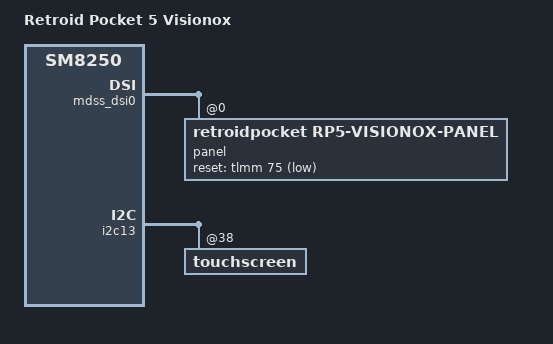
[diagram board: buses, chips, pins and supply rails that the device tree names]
// SPDX-License-Identifier: GPL-2.0

/dts-v1/;

#include "sm8250-retroidpocket-rp5.dts"

/ {
	model = "Retroid Pocket 5 Visionox";
};

&mdss_dsi0 {
	panel@0 {
		compatible = "retroidpocket,rp5-visionox-panel";
		reset-gpios = <&tlmm 75 GPIO_ACTIVE_LOW>;
	};
};

&i2c13 {
	touchscreen@38 {
		/delete-property/ touchscreen-inverted-x;
	};
};

&vdda_panel {
	/delete-property/ regulator-boot-on;
};
